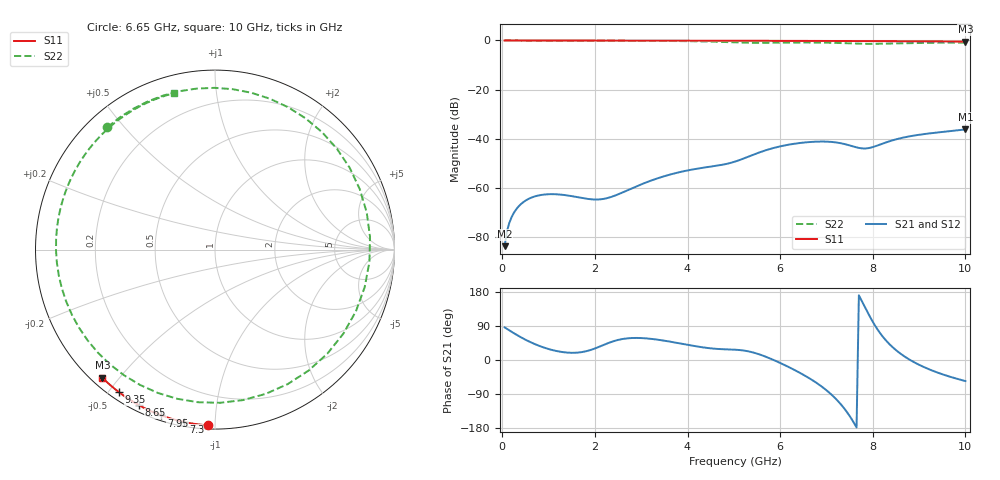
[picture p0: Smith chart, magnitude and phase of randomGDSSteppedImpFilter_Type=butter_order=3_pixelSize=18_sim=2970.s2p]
! freq	dB(S11)	phase(S11)	dB(S12)	phase(S12)
!  dB(S21)	phase(S21)	dB(S22)	phase(S22)
!S-par simulation data
#  GHz  S  DB  R 50
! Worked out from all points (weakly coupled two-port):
!   200 points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, 50 MHz to 10 GHz, reference 50 ohm
!   highest |S21| = -36.26 dB at 10 GHz (marker M1); lowest = -83.8 dB at 50 MHz (marker M2)
!   lowest |S11| = -0.4 dB at 10 GHz (marker M3), VSWR 39.22, Z = 1.54 - j22.6 ohm
!   |S11| at or under -10 dB: nowhere
!   |S22| runs from -1.4 to 0.0 dB; largest |S21 - S12| = 0
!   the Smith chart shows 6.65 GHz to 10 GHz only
!   S11 on the Smith chart (normalised r, x): 6.65 GHz: 0.02, -0.96; 7.3 GHz: 0.02, -0.84; 7.95 GHz: 0.02, -0.73; 8.65 GHz: 0.02, -0.62; 9.35 GHz: 0.03, -0.53; 10 GHz: 0.03, -0.45
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0.05  -0.00 -0.8  -83.81 86.1  -83.81 86.1  -0.00 -7.2
0.3  -0.01 -4.5  -68.80 67.1  -68.80 67.1  -0.05 -41.8
0.7  -0.01 -10.6  -63.55 42.1  -63.55 42.1  -0.09 -88.1
1.75  -0.03 -26.2  -64.28 21.5  -64.28 21.5  -0.11 -162.3
2.55  -0.05 -37.8  -62.31 54.4  -62.31 54.4  -0.13 159.9
3.4  -0.07 -49.8  -55.88 52.8  -55.88 52.8  -0.18 119.6
4.3  -0.09 -62.2  -51.97 33.9  -51.97 33.9  -0.38 60.8
4.75  -0.10 -68.2  -50.65 28.5  -50.65 28.5  -0.60 15.6
5.05  -0.11 -72.1  -49.21 27.0  -49.21 27.0  -0.78 -23.1
5.35  -0.12 -76.0  -47.08 21.9  -47.08 21.9  -0.93 -66.8
5.65  -0.13 -79.9  -44.98 10.5  -44.98 10.5  -0.97 -110.5
6.15  -0.15 -86.2  -42.57 -16.5  -42.57 -16.5  -0.88 -173.8
6.65  -0.18 -92.4  -41.36 -49.7  -41.36 -49.7  -0.84 131.3
6.7  -0.18 -93.0  -41.30 -53.5  -41.30 -53.5  -0.84 125.7
7  -0.20 -96.6  -41.22 -79.9  -41.22 -79.9  -0.90 90.2
7.3  -0.21 -100.2  -41.84 -115.4  -41.84 -115.4  -1.06 47.6
7.6  -0.23 -103.8  -43.31 -167.3  -43.31 -167.3  -1.28 -4.6
7.95  -0.26 -107.9  -43.70 111.8  -43.70 111.8  -1.39 -70.7
8.35  -0.29 -112.5  -41.13 43.1  -41.13 43.1  -1.24 -132.4
8.65  -0.31 -116.0  -39.61 12.2  -39.61 12.2  -1.11 -165.9
9.35  -0.37 -124.0  -37.59 -31.0  -37.59 -31.0  -0.93 140.7
10  -0.44 -131.3  -36.26 -55.6  -36.26 -55.6  -0.91 104.5
